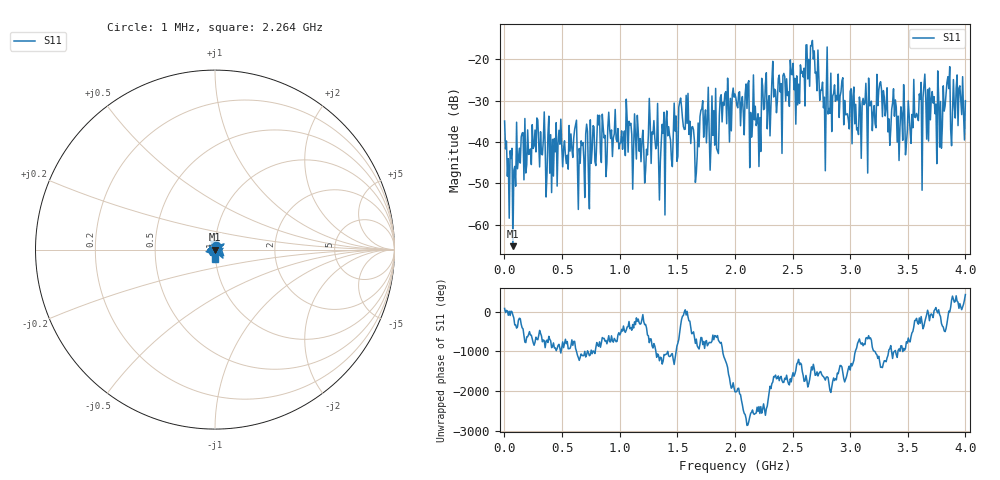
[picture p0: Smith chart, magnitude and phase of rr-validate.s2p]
!Created with skrf (http://scikit-rf.org).
# GHz S DB R 50.0
!freq dBS11 angS11
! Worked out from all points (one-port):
!   501 points, 1 MHz to 4 GHz, reference 50 ohm
!   lowest |S11| = -65.1 dB at 72.98 MHz (marker M1), VSWR 1.00, Z = 50 - j0.0554 ohm
!   |S11| at or under -10 dB: start of sweep to end of sweep
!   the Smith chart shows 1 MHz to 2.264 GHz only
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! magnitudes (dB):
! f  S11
! 1 MHz  -34.9
! 72.98 MHz  -65.1
! 161 MHz  -37.7
! 504.9 MHz  -46.0
! 1.001 GHz  -40.3
! 1.225 GHz  -46.9
! 1.249 GHz  -38.3
! 1.353 GHz  -44.8
! 1.505 GHz  -43.5
! 1.593 GHz  -28.3
! 1.673 GHz  -43.3
! 1.713 GHz  -32.0
! 1.841 GHz  -41.5
! 2.001 GHz  -28.4
! 2.208 GHz  -45.9
! 2.248 GHz  -32.2
! 2.504 GHz  -21.0
! 2.544 GHz  -31.0
! 2.672 GHz  -15.5
! 2.768 GHz  -31.7
! 3 GHz  -27.8
! 3.208 GHz  -31.2
! 3.248 GHz  -27.5
! 3.504 GHz  -30.1
! 3.656 GHz  -29.6
! 3.784 GHz  -30.2
! 3.848 GHz  -24.2
! 4 GHz  -30.0
